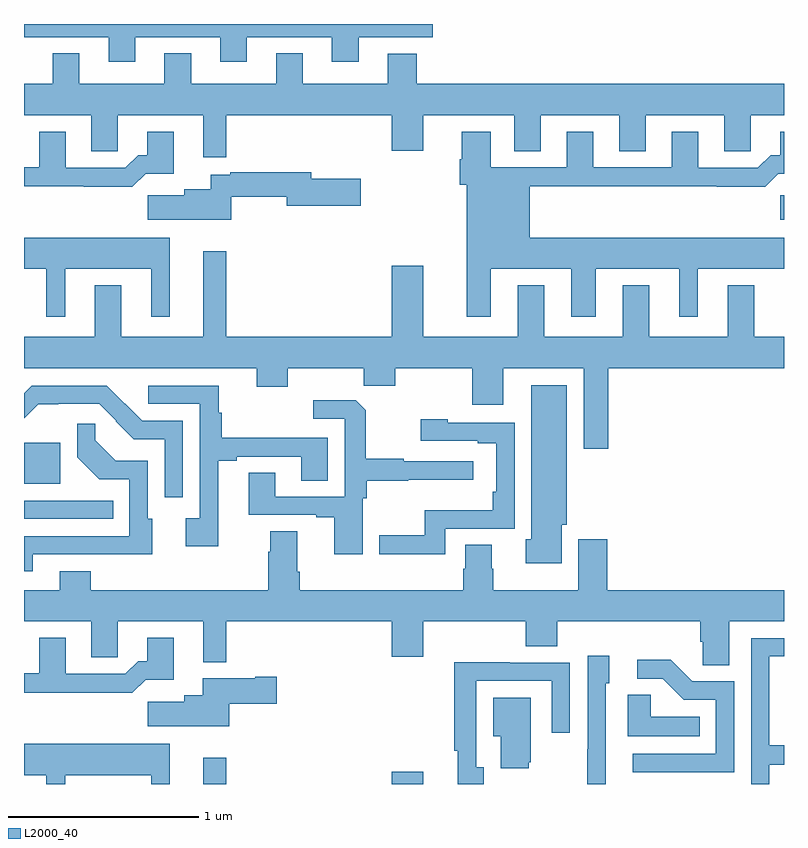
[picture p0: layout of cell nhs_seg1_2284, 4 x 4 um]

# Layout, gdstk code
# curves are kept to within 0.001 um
import gdstk
lib = gdstk.Library(unit=1e-6, precision=1e-09)
def R(c, l, rs):  # rectangles x0, y0, x1, y1
    for r in rs: c.add(gdstk.rectangle(r[:2], r[2:], *l))
def P(c, l, *ps):  # polygons
    for p in ps: c.add(gdstk.Polygon(p, *l))
L2000_40 = (2000, 40)

nhs_seg1_2284 = lib.new_cell('nhs_seg1_2284')
R(nhs_seg1_2284, L2000_40, [(235.943,560.199,236.065,560.338), (236.936,560.199,237.1,560.263), (235,561.594,235.469,561.69), (235,561.779,235.192,561.994), (238.98,563.168,239,563.297)])
P(nhs_seg1_2284, L2000_40, [(235.585,564.129),(236.033,564.129),(236.033,564),(236.173,564),(236.173,564.129),(236.621,564.129),(236.621,564),(236.761,564),(236.761,564.128),(237.151,564.128),(237.151,564.199),(235,564.199),(235,564.129),(235.445,564.129),(235.445,564),(235.585,564)],
  [(236.065,563.72),(236.936,563.72),(236.936,563.532),(237.1,563.532),(237.1,563.72),(237.581,563.72),(237.581,563.53),(237.721,563.53),(237.721,563.72),(238.133,563.72),(238.133,563.53),(238.273,563.53),(238.273,563.72),(238.685,563.72),(238.685,563.53),(238.824,563.53),(238.824,563.72),(239,563.72),(239,563.884),(237.068,563.884),(237.068,564.043),(236.915,564.043),(236.915,563.884),(236.467,563.884),(236.467,564.044),(236.327,564.044),(236.327,563.884),(235.879,563.884),(235.879,564.044),(235.739,564.044),(235.739,563.884),(235.291,563.884),(235.291,564.044),(235.151,564.044),(235.151,563.884),(235,563.884),(235,563.72),(235.355,563.72),(235.355,563.53),(235.494,563.53),(235.494,563.72),(235.943,563.72),(235.943,563.499),(236.065,563.499)],
  [(237.457,562.91),(237.881,562.91),(237.881,562.659),(238.009,562.659),(238.009,562.91),(238.448,562.91),(238.448,562.659),(238.546,562.659),(238.546,562.91),(239,562.91),(239,563.074),(237.661,563.074),(237.661,563.344),(238.645,563.344),(238.645,563.342),(238.901,563.342),(238.971,563.412),(239,563.412),(239,563.632),(238.979,563.632),(238.979,563.509),(238.93,563.509),(238.863,563.442),(238.549,563.442),(238.549,563.632),(238.409,563.632),(238.409,563.445),(237.997,563.445),(237.997,563.632),(237.857,563.632),(237.857,563.445),(237.457,563.445),(237.457,563.632),(237.305,563.632),(237.305,563.486),(237.293,563.486),(237.293,563.352),(237.329,563.352),(237.329,562.659),(237.457,562.659)],
  [(235.64,563.411),(235.789,563.411),(235.789,563.632),(235.649,563.632),(235.649,563.509),(235.6,563.509),(235.533,563.442),(235.219,563.442),(235.219,563.632),(235.079,563.632),(235.079,563.445),(235,563.445),(235,563.344),(235.315,563.344),(235.315,563.342),(235.571,563.342)],
  [(236.092,563.29),(236.384,563.29),(236.384,563.243),(236.773,563.243),(236.773,563.385),(236.512,563.385),(236.512,563.419),(236.086,563.419),(236.086,563.406),(235.982,563.406),(235.982,563.329),(235.844,563.329),(235.844,563.297),(235.65,563.297),(235.65,563.168),(236.092,563.168)],
  [(235.216,562.91),(235.67,562.91),(235.67,562.659),(235.768,562.659),(235.768,563.074),(235,563.074),(235,562.91),(235.118,562.91),(235.118,562.659),(235.216,562.659)],
  [(238.076,562.388),(239,562.388),(239,562.552),(238.843,562.552),(238.843,562.825),(238.703,562.825),(238.703,562.552),(238.291,562.552),(238.291,562.825),(238.151,562.825),(238.151,562.552),(237.739,562.552),(237.739,562.825),(237.599,562.825),(237.599,562.552),(237.1,562.552),(237.1,562.927),(236.936,562.927),(236.936,562.552),(236.065,562.552),(236.065,563.002),(235.943,563.002),(235.943,562.552),(235.513,562.552),(235.513,562.825),(235.373,562.825),(235.373,562.552),(235,562.552),(235,562.388),(236.225,562.388),(236.225,562.289),(236.389,562.289),(236.389,562.388),(236.789,562.388),(236.789,562.295),(236.953,562.295),(236.953,562.388),(237.359,562.388),(237.359,562.194),(237.523,562.194),(237.523,562.388),(237.947,562.388),(237.947,561.963),(238.076,561.963)],
  [(237.829,561.564),(237.856,561.564),(237.856,562.297),(237.671,562.297),(237.671,561.488),(237.641,561.488),(237.641,561.362),(237.829,561.362)],
  [(235.836,562.11),(235.623,562.11),(235.435,562.296),(235.041,562.296),(235,562.255),(235,562.123),(235.076,562.199),(235.395,562.2),(235.485,562.11),(235.483,562.108),(235.577,562.014),(235.74,562.014),(235.74,561.708),(235.836,561.708)],
  [(236.023,561.901),(236.119,561.901),(236.119,561.921),(236.459,561.921),(236.459,561.796),(236.599,561.796),(236.599,562.022),(236.042,562.022),(236.042,562.154),(236.024,562.154),(236.024,562.296),(235.653,562.296),(235.653,562.2),(235.926,562.2),(235.926,561.598),(235.851,561.598),(235.851,561.45),(236.023,561.45)],
  [(236.784,561.704),(236.804,561.704),(236.804,561.796),(237.023,561.796),(237.023,561.8),(237.364,561.8),(237.364,561.897),(236.999,561.897),(236.999,561.91),(236.799,561.91),(236.799,562.167),(236.747,562.219),(236.523,562.219),(236.523,562.122),(236.688,562.122),(236.688,561.711),(236.323,561.711),(236.323,561.836),(236.183,561.836),(236.183,561.615),(236.537,561.615),(236.537,561.603),(236.633,561.603),(236.633,561.408),(236.784,561.408)],
  [(237.216,561.543),(237.582,561.543),(237.582,562.101),(237.231,562.101),(237.231,562.12),(237.087,562.12),(237.087,562.005),(237.389,562.005),(237.389,561.993),(237.486,561.993),(237.486,561.736),(237.466,561.736),(237.466,561.64),(237.108,561.64),(237.108,561.509),(236.871,561.509),(236.871,561.407),(237.216,561.407)],
  [(235.045,561.408),(235.675,561.407),(235.675,561.594),(235.65,561.594),(235.65,561.9),(235.484,561.9),(235.376,562.008),(235.376,562.096),(235.281,562.096),(235.281,561.92),(235.397,561.804),(235.554,561.804),(235.554,561.504),(235,561.504),(235,561.318),(235.045,561.318)],
  [(238.711,561.056),(239,561.056),(239,561.22),(238.07,561.22),(238.07,561.487),(237.917,561.487),(237.917,561.22),(237.471,561.22),(237.471,561.333),(237.463,561.333),(237.463,561.458),(237.323,561.458),(237.323,561.333),(237.311,561.333),(237.311,561.22),(236.45,561.22),(236.45,561.316),(236.437,561.316),(236.437,561.53),(236.297,561.53),(236.297,561.422),(236.285,561.422),(236.285,561.22),(235.351,561.22),(235.351,561.319),(235.187,561.319),(235.187,561.22),(235,561.22),(235,561.056),(235.355,561.056),(235.355,560.866),(235.494,560.866),(235.494,561.056),(235.943,561.056),(235.943,560.84),(236.065,560.84),(236.065,561.056),(236.936,561.056),(236.936,560.868),(237.1,560.868),(237.1,561.056),(237.641,561.056),(237.641,560.923),(237.806,560.923),(237.806,561.056),(238.559,561.056),(238.559,560.947),(238.572,560.947),(238.572,560.824),(238.711,560.824)],
  [(235.64,560.747),(235.789,560.747),(235.789,560.968),(235.649,560.968),(235.649,560.845),(235.6,560.845),(235.533,560.778),(235.219,560.778),(235.219,560.968),(235.079,560.968),(235.079,560.781),(235,560.781),(235,560.68),(235.315,560.68),(235.315,560.678),(235.571,560.678)],
  [(238.923,560.301),(239,560.301),(239,560.402),(238.923,560.402),(238.923,560.871),(239,560.871),(239,560.967),(238.827,560.967),(238.827,560.199),(238.923,560.199)],
  [(238.062,560.73),(238.081,560.73),(238.081,560.875),(237.966,560.875),(237.966,560.381),(237.964,560.381),(237.964,560.199),(238.062,560.199)],
  [(238.737,560.739),(238.518,560.739),(238.405,560.852),(238.227,560.852),(238.227,560.754),(238.361,560.754),(238.472,560.643),(238.641,560.643),(238.641,560.358),(238.203,560.358),(238.203,560.262),(238.737,560.262)],
  [(237.421,560.286),(237.381,560.286),(237.381,560.742),(237.777,560.742),(237.777,560.469),(237.873,560.469),(237.873,560.838),(237.557,560.838),(237.557,560.84),(237.265,560.84),(237.265,560.374),(237.284,560.374),(237.284,560.199),(237.421,560.199)],
  [(236.08,560.621),(236.329,560.621),(236.329,560.763),(236.216,560.763),(236.216,560.755),(235.94,560.755),(235.94,560.665),(235.844,560.665),(235.844,560.633),(235.65,560.633),(235.65,560.504),(236.08,560.504)],
  [(238.556,560.554),(238.299,560.554),(238.299,560.669),(238.178,560.669),(238.178,560.45),(238.556,560.45)],
  [(237.656,560.313),(237.667,560.313),(237.667,560.653),(237.47,560.653),(237.47,560.45),(237.509,560.45),(237.509,560.282),(237.656,560.282)],
  [(235.216,560.246),(235.67,560.246),(235.67,560.199),(235.768,560.199),(235.768,560.41),(235,560.41),(235,560.246),(235.118,560.246),(235.118,560.199),(235.216,560.199)])

lib.write_gds('nhs_seg1_2284.gds')
